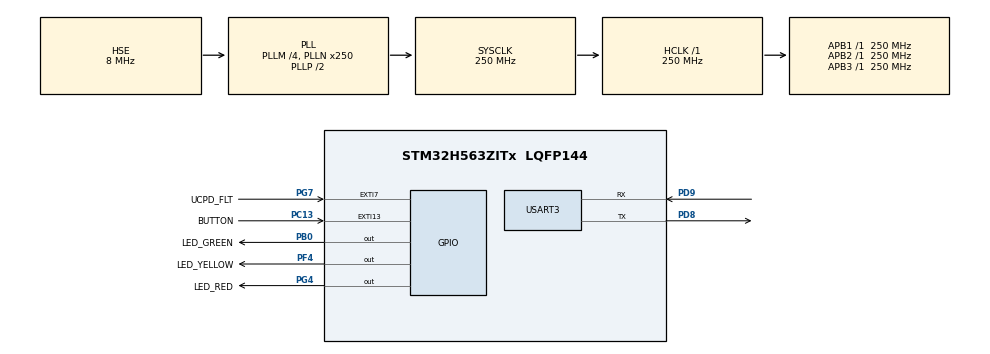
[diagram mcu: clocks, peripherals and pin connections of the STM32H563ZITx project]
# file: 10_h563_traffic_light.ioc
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BOOTPATH.BootPathName=LEGACY
BOOTPATH.UserSelectedBootPath=LEGACY
CORTEX_M33_NS.Number-Cortex_Memory_Protection_Unit_Region0_OTP_RO_AREAS_Settings=MPU_REGION_NUMBER0
CORTEX_M33_NS.default_mode_Activation=1
CORTEX_M33_NS.userName=CORTEX_M33
Mcu.Family=STM32H5
Mcu.Name=STM32H563ZITx
Mcu.Package=LQFP144
NVIC.EXTI13_IRQn=true\:0\:0\:false\:false\:true\:true\:true\:true
NVIC.PriorityGroup=NVIC_PRIORITYGROUP_4
PA1.GPIO_Label=RMII_REF_CLK
PA1.GPIO_Mode=GPIO_MODE_AF_PP
PA1.GPIO_PuPd=GPIO_NOPULL
PA1.GPIO_Speed=GPIO_SPEED_FREQ_LOW
PA1.Signal=ETH_RMII_REF_CLK
PA11.GPIO_Label=USB_FS_N
PA11.Signal=USB_DM
PA12.GPIO_Label=USB_FS_P
PA12.Signal=USB_DP
PA13(JTMS/SWDIO).GPIO_Label=SWDIO
PA13(JTMS/SWDIO).Signal=DEBUG_JTMS-SWDIO
PA14(JTCK/SWCLK).GPIO_Label=SWCLK
PA14(JTCK/SWCLK).Signal=DEBUG_JTCK-SWCLK
PA15(JTDI).GPIO_Label=T_JTDI
PA15(JTDI).Signal=DEBUG_JTDI
PA2.GPIO_Label=RMII_MDIO
PA2.GPIO_Mode=GPIO_MODE_AF_PP
PA2.GPIO_PuPd=GPIO_NOPULL
PA2.GPIO_Speed=GPIO_SPEED_FREQ_LOW
PA2.Signal=ETH_MDIO
PA4.GPIO_Label=VBUS_SENSE
PA4.Signal=ADCx_INP18
PA7.GPIO_Label=RMII_CRS_DV
PA7.GPIO_Mode=GPIO_MODE_AF_PP
PA7.GPIO_PuPd=GPIO_NOPULL
PA7.GPIO_Speed=GPIO_SPEED_FREQ_LOW
PA7.Signal=ETH_RMII_CRS_DV
PA9.GPIO_Label=UCDP_DBn
PA9.Signal=UCPD1_DB1
PB0.GPIO_Label=LED_GREEN
PB0.Signal=GPIO_Output
PB13.GPIO_Label=UCPD_CC1
PB13.Signal=UCPD1_CC1
PB14.GPIO_Label=UCPD_CC2
PB14.Signal=UCPD1_CC2
PB15.GPIO_Label=RMII_TXD1
PB15.GPIO_Mode=GPIO_MODE_AF_PP
PB15.GPIO_PuPd=GPIO_NOPULL
PB15.GPIO_Speed=GPIO_SPEED_FREQ_LOW
PB15.Signal=ETH_RMII_TXD1
PB3(JTDO/TRACESWO).GPIO_Label=SWO
PB3(JTDO/TRACESWO).Signal=DEBUG_JTDO-SWO
PB6.GPIO_Label=ARD_D1_TX
PB6.Signal=LPUART1_TX
PB7.GPIO_Label=ARD_D0_RX
PB7.Signal=LPUART1_RX
PC1.GPIO_Label=RMII_MDC
PC1.GPIO_Mode=GPIO_MODE_AF_PP
PC1.GPIO_PuPd=GPIO_NOPULL
PC1.GPIO_Speed=GPIO_SPEED_FREQ_LOW
PC1.Signal=ETH_MDC
PC13.GPIO_Label=BUTTON
PC13.Signal=GPXTI13
PC14-OSC32_IN(OSC32_IN).Mode=LSE-External-Oscillator
PC14-OSC32_IN(OSC32_IN).Signal=RCC_OSC32_IN
PC15-OSC32_OUT(OSC32_OUT).Mode=LSE-External-Oscillator
PC15-OSC32_OUT(OSC32_OUT).Signal=RCC_OSC32_OUT
PC4.GPIO_Label=RMII_RXD0
PC4.GPIO_Mode=GPIO_MODE_AF_PP
PC4.GPIO_PuPd=GPIO_NOPULL
PC4.GPIO_Speed=GPIO_SPEED_FREQ_LOW
PC4.Signal=ETH_RMII_RXD0
PC5.GPIO_Label=RMII_RXD1
PC5.GPIO_Mode=GPIO_MODE_AF_PP
PC5.GPIO_PuPd=GPIO_NOPULL
PC5.GPIO_Speed=GPIO_SPEED_FREQ_LOW
PC5.Signal=ETH_RMII_RXD1
PD8.Mode=Asynchronous
PD8.Signal=USART3_TX
PD9.Mode=Asynchronous
PD9.Signal=USART3_RX
PE2.GPIO_Label=TRACE_CK
PE2.Signal=DEBUG_TRACECLK
PE3.GPIO_Label=TRACE_D0
PE3.Signal=DEBUG_TRACED0
PE4.GPIO_Label=TRACE_D1
PE4.Signal=DEBUG_TRACED1
PE5.GPIO_Label=TRACE_D2
PE5.Signal=DEBUG_TRACED2
PE6.GPIO_Label=TRACE_D3
PE6.Signal=DEBUG_TRACED3
PF4.GPIO_Label=LED_YELLOW
PF4.Signal=GPIO_Output
PG11.GPIO_Label=RMII_TXT_EN
PG11.GPIO_Mode=GPIO_MODE_AF_PP
PG11.GPIO_PuPd=GPIO_NOPULL
PG11.GPIO_Speed=GPIO_SPEED_FREQ_LOW
PG11.Signal=ETH_RMII_TX_EN
PG13.GPIO_Label=RMI_TXD0
PG13.GPIO_Mode=GPIO_MODE_AF_PP
PG13.GPIO_PuPd=GPIO_NOPULL
PG13.GPIO_Speed=GPIO_SPEED_FREQ_LOW
PG13.Signal=ETH_RMII_TXD0
PG4.GPIO_Label=LED_RED
PG4.Signal=GPIO_Output
PG7.GPIO_Label=UCPD_FLT
PG7.Signal=GPXTI7
PH0-OSC_IN(PH0).GPIO_Label=STLK_MCO
PH0-OSC_IN(PH0).Mode=HSE-External-Clock-Source
PH0-OSC_IN(PH0).Signal=RCC_OSC_IN
ProjectManager.HeapSize=0x200
ProjectManager.StackSize=0x400
ProjectManager.TargetToolchain=STM32CubeIDE
RCC.ADCFreq_Value=250000000
RCC.AHBFreq_Value=250000000
RCC.APB1Freq_Value=250000000
RCC.APB1TimFreq_Value=250000000
RCC.APB2Freq_Value=250000000
RCC.APB2TimFreq_Value=250000000
RCC.APB3Freq_Value=250000000
RCC.CSI_VALUE=4000000
RCC.CortexFreq_Value=250000000
RCC.EPOD_VALUE=8000000
RCC.HCLKFreq_Value=250000000
RCC.HSE_VALUE=8000000
RCC.HSI48_VALUE=48000000
RCC.HSIDiv=RCC_HSI_DIV1
RCC.HSI_VALUE=64000000
RCC.LSIRC_VALUE=32000
RCC.PLLM=4
RCC.PLLN=250
RCC.PLLSourceVirtual=RCC_PLL1_SOURCE_HSE
RCC.SYSCLKFreq_VALUE=250000000
RCC.SYSCLKSource=RCC_SYSCLKSOURCE_PLLCLK
RCC.USBFreq_Value=48000000
RCC.VCOOutputFreq_Value=500000000
SH.ADCx_INP18.0=ADC1_INP18
USART3.VirtualMode-Asynchronous=VM_ASYNC
VP_BOOTPATH_VS_BOOTPATH.Mode=BP_Activate
VP_CORTEX_M33_NS_VS_Hclk.Mode=Hclk_Mode
VP_ICACHE_VS_ICACHE.Mode=DirectMappedCache
VP_MEMORYMAP_VS_MEMORYMAP.Mode=CurAppReg
VP_PWR_VS_DBSignals.Mode=DisableDeadBatterySignals
VP_PWR_VS_LPOM.Mode=PowerOptimisation
VP_PWR_VS_SECSignals.Mode=Security/Privilege
board=NUCLEO-H563ZI

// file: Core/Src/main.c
/* USER CODE BEGIN Header */
/**
  ******************************************************************************
  * @file           : main.c
  * @brief          : Main program body
  ******************************************************************************
  * @attention
  *
  * Copyright (c) 2026 STMicroelectronics.
  * All rights reserved.
  *
  * This software is licensed under terms that can be found in the LICENSE file
  * in the root directory of this software component.
  * If no LICENSE file comes with this software, it is provided AS-IS.
  *
  ******************************************************************************
  */
/* USER CODE END Header */
#include "main.h"

/* USER CODE BEGIN Includes */
#include <stdio.h>
/* USER CODE END Includes */

UART_HandleTypeDef huart3;

/* USER CODE BEGIN PV */
typedef enum { GREEN, YELLOW, RED } LightState;   // the 3 possible states

LightState state = GREEN;
uint32_t stateStart = 0;                          // when the current state began
volatile uint8_t walkRequest = 0;                 // set by the button interrupt
const char *names[3] = {"GREEN", "YELLOW", "RED"};
/* USER CODE END PV */

void SystemClock_Config(void);
static void MPU_Config(void);
static void MX_GPIO_Init(void);
static void MX_ICACHE_Init(void);
static void MX_USART3_UART_Init(void);

/* USER CODE BEGIN 0 */
int __io_putchar(int ch)
{
    HAL_UART_Transmit(&huart3, (uint8_t *)&ch, 1, HAL_MAX_DELAY);   // USART3 on this board!
    return ch;
}

void setLights(LightState s)
{
    HAL_GPIO_WritePin(LED_GREEN_GPIO_Port,  LED_GREEN_Pin,  s == GREEN  ? GPIO_PIN_SET : GPIO_PIN_RESET);
    HAL_GPIO_WritePin(LED_YELLOW_GPIO_Port, LED_YELLOW_Pin, s == YELLOW ? GPIO_PIN_SET : GPIO_PIN_RESET);
    HAL_GPIO_WritePin(LED_RED_GPIO_Port,    LED_RED_Pin,    s == RED    ? GPIO_PIN_SET : GPIO_PIN_RESET);
}

void goTo(LightState next, const char *why)
{
    printf("[%lu ms] %s -> %s (%s)\r\n", HAL_GetTick(), names[state], names[next], why);
    state = next;
    stateStart = HAL_GetTick();
    setLights(state);
}

void HAL_GPIO_EXTI_Rising_Callback(uint16_t GPIO_Pin)   // H5 uses Rising/Falling callbacks
{
    if (GPIO_Pin == BUTTON_Pin && state == GREEN)
    {
        walkRequest = 1;
    }
}
/* USER CODE END 0 */

int main(void)
{

  /* MCU Configuration--------------------------------------------------------*/

  /* MPU Configuration--------------------------------------------------------*/
  MPU_Config();

  /* Reset of all peripherals, Initializes the Flash interface and the Systick. */
  HAL_Init();

  /* Configure the system clock */
  SystemClock_Config();

  /* Initialize all configured peripherals */
  MX_GPIO_Init();
  MX_ICACHE_Init();
  MX_USART3_UART_Init();
  /* USER CODE BEGIN 2 */
  setvbuf(stdout, NULL, _IONBF, 0);
  printf("Lesson 10: traffic light on NUCLEO-H563ZI\r\n");
  stateStart = HAL_GetTick();
  setLights(GREEN);
  /* USER CODE END 2 */

  /* Infinite loop */
  while (1)
  {

    /* USER CODE BEGIN 3 */
	  uint32_t elapsed = HAL_GetTick() - stateStart;

	  switch (state)
	  {
	      case GREEN:
	          if (walkRequest && elapsed >= 1500) { walkRequest = 0; goTo(YELLOW, "walk button"); }
	          else if (elapsed >= 5000)            { goTo(YELLOW, "timer"); }
	          break;

	      case YELLOW:
	          if (elapsed >= 1500) { goTo(RED, "timer"); }
	          break;

	      case RED:
	          if (elapsed >= 4000) { goTo(GREEN, "timer"); }
	          break;
	  }
  }
  /* USER CODE END 3 */
}

void SystemClock_Config(void)
{
  RCC_OscInitTypeDef RCC_OscInitStruct = {0};
  RCC_ClkInitTypeDef RCC_ClkInitStruct = {0};

  /** Configure the main internal regulator output voltage
  */
  __HAL_PWR_VOLTAGESCALING_CONFIG(PWR_REGULATOR_VOLTAGE_SCALE0);

  while(!__HAL_PWR_GET_FLAG(PWR_FLAG_VOSRDY)) {}

  /** Initializes the RCC Oscillators according to the specified parameters
  * in the RCC_OscInitTypeDef structure.
  */
  RCC_OscInitStruct.OscillatorType = RCC_OSCILLATORTYPE_HSE;
  RCC_OscInitStruct.HSEState = RCC_HSE_BYPASS;
  RCC_OscInitStruct.PLL.PLLState = RCC_PLL_ON;
  RCC_OscInitStruct.PLL.PLLSource = RCC_PLL1_SOURCE_HSE;
  RCC_OscInitStruct.PLL.PLLM = 4;
  RCC_OscInitStruct.PLL.PLLN = 250;
  RCC_OscInitStruct.PLL.PLLP = 2;
  RCC_OscInitStruct.PLL.PLLQ = 2;
  RCC_OscInitStruct.PLL.PLLR = 2;
  RCC_OscInitStruct.PLL.PLLRGE = RCC_PLL1_VCIRANGE_1;
  RCC_OscInitStruct.PLL.PLLVCOSEL = RCC_PLL1_VCORANGE_WIDE;
  RCC_OscInitStruct.PLL.PLLFRACN = 0;
  if (HAL_RCC_OscConfig(&RCC_OscInitStruct) != HAL_OK)
  {
    Error_Handler();
  }

  /** Initializes the CPU, AHB and APB buses clocks
  */
  RCC_ClkInitStruct.ClockType = RCC_CLOCKTYPE_HCLK|RCC_CLOCKTYPE_SYSCLK
                              |RCC_CLOCKTYPE_PCLK1|RCC_CLOCKTYPE_PCLK2
                              |RCC_CLOCKTYPE_PCLK3;
  RCC_ClkInitStruct.SYSCLKSource = RCC_SYSCLKSOURCE_PLLCLK;
  RCC_ClkInitStruct.AHBCLKDivider = RCC_SYSCLK_DIV1;
  RCC_ClkInitStruct.APB1CLKDivider = RCC_HCLK_DIV1;
  RCC_ClkInitStruct.APB2CLKDivider = RCC_HCLK_DIV1;
  RCC_ClkInitStruct.APB3CLKDivider = RCC_HCLK_DIV1;

  if (HAL_RCC_ClockConfig(&RCC_ClkInitStruct, FLASH_LATENCY_5) != HAL_OK)
  {
    Error_Handler();
  }

  /** Configure the programming delay
  */
  __HAL_FLASH_SET_PROGRAM_DELAY(FLASH_PROGRAMMING_DELAY_2);
}

static void MX_ICACHE_Init(void)
{

  /** Enable instruction cache in 1-way (direct mapped cache)
  */
  if (HAL_ICACHE_ConfigAssociativityMode(ICACHE_1WAY) != HAL_OK)
  {
    Error_Handler();
  }
  if (HAL_ICACHE_Enable() != HAL_OK)
  {
    Error_Handler();
  }

}

static void MX_USART3_UART_Init(void)
{

  huart3.Instance = USART3;
  huart3.Init.BaudRate = 115200;
  huart3.Init.WordLength = UART_WORDLENGTH_8B;
  huart3.Init.StopBits = UART_STOPBITS_1;
  huart3.Init.Parity = UART_PARITY_NONE;
  huart3.Init.Mode = UART_MODE_TX_RX;
  huart3.Init.HwFlowCtl = UART_HWCONTROL_NONE;
  huart3.Init.OverSampling = UART_OVERSAMPLING_16;
  huart3.Init.OneBitSampling = UART_ONE_BIT_SAMPLE_DISABLE;
  huart3.Init.ClockPrescaler = UART_PRESCALER_DIV1;
  huart3.AdvancedInit.AdvFeatureInit = UART_ADVFEATURE_NO_INIT;
  if (HAL_UART_Init(&huart3) != HAL_OK)
  {
    Error_Handler();
  }
  if (HAL_UARTEx_SetTxFifoThreshold(&huart3, UART_TXFIFO_THRESHOLD_1_8) != HAL_OK)
  {
    Error_Handler();
  }
  if (HAL_UARTEx_SetRxFifoThreshold(&huart3, UART_RXFIFO_THRESHOLD_1_8) != HAL_OK)
  {
    Error_Handler();
  }
  if (HAL_UARTEx_DisableFifoMode(&huart3) != HAL_OK)
  {
    Error_Handler();
  }

}

static void MX_GPIO_Init(void)
{
  GPIO_InitTypeDef GPIO_InitStruct = {0};

  /* GPIO Ports Clock Enable */
  __HAL_RCC_GPIOE_CLK_ENABLE();
  __HAL_RCC_GPIOC_CLK_ENABLE();
  __HAL_RCC_GPIOF_CLK_ENABLE();
  __HAL_RCC_GPIOH_CLK_ENABLE();
  __HAL_RCC_GPIOA_CLK_ENABLE();
  __HAL_RCC_GPIOB_CLK_ENABLE();
  __HAL_RCC_GPIOD_CLK_ENABLE();
  __HAL_RCC_GPIOG_CLK_ENABLE();

  /*Configure GPIO pin Output Level */
  HAL_GPIO_WritePin(LED_YELLOW_GPIO_Port, LED_YELLOW_Pin, GPIO_PIN_RESET);

  /*Configure GPIO pin Output Level */
  HAL_GPIO_WritePin(LED_GREEN_GPIO_Port, LED_GREEN_Pin, GPIO_PIN_RESET);

  /*Configure GPIO pin Output Level */
  HAL_GPIO_WritePin(LED_RED_GPIO_Port, LED_RED_Pin, GPIO_PIN_RESET);

  /*Configure GPIO pin : BUTTON_Pin */
  GPIO_InitStruct.Pin = BUTTON_Pin;
  GPIO_InitStruct.Mode = GPIO_MODE_IT_RISING;
  GPIO_InitStruct.Pull = GPIO_NOPULL;
  HAL_GPIO_Init(BUTTON_GPIO_Port, &GPIO_InitStruct);

  /*Configure GPIO pin : LED_YELLOW_Pin */
  GPIO_InitStruct.Pin = LED_YELLOW_Pin;
  GPIO_InitStruct.Mode = GPIO_MODE_OUTPUT_PP;
  GPIO_InitStruct.Pull = GPIO_NOPULL;
  GPIO_InitStruct.Speed = GPIO_SPEED_FREQ_LOW;
  HAL_GPIO_Init(LED_YELLOW_GPIO_Port, &GPIO_InitStruct);

  /*Configure GPIO pins : RMII_MDC_Pin RMII_RXD0_Pin RMII_RXD1_Pin */
  GPIO_InitStruct.Pin = RMII_MDC_Pin|RMII_RXD0_Pin|RMII_RXD1_Pin;
  GPIO_InitStruct.Mode = GPIO_MODE_AF_PP;
  GPIO_InitStruct.Pull = GPIO_NOPULL;
  GPIO_InitStruct.Speed = GPIO_SPEED_FREQ_HIGH;
  GPIO_InitStruct.Alternate = GPIO_AF11_ETH;
  HAL_GPIO_Init(GPIOC, &GPIO_InitStruct);

  /*Configure GPIO pins : RMII_REF_CLK_Pin RMII_MDIO_Pin RMII_CRS_DV_Pin */
  GPIO_InitStruct.Pin = RMII_REF_CLK_Pin|RMII_MDIO_Pin|RMII_CRS_DV_Pin;
  GPIO_InitStruct.Mode = GPIO_MODE_AF_PP;
  GPIO_InitStruct.Pull = GPIO_NOPULL;
  GPIO_InitStruct.Speed = GPIO_SPEED_FREQ_HIGH;
  GPIO_InitStruct.Alternate = GPIO_AF11_ETH;
  HAL_GPIO_Init(GPIOA, &GPIO_InitStruct);

  /*Configure GPIO pin : VBUS_SENSE_Pin */
  GPIO_InitStruct.Pin = VBUS_SENSE_Pin;
  GPIO_InitStruct.Mode = GPIO_MODE_ANALOG;
  GPIO_InitStruct.Pull = GPIO_NOPULL;
  HAL_GPIO_Init(VBUS_SENSE_GPIO_Port, &GPIO_InitStruct);

  /*Configure GPIO pin : LED_GREEN_Pin */
  GPIO_InitStruct.Pin = LED_GREEN_Pin;
  GPIO_InitStruct.Mode = GPIO_MODE_OUTPUT_PP;
  GPIO_InitStruct.Pull = GPIO_NOPULL;
  GPIO_InitStruct.Speed = GPIO_SPEED_FREQ_LOW;
  HAL_GPIO_Init(LED_GREEN_GPIO_Port, &GPIO_InitStruct);

  /*Configure GPIO pins : UCPD_CC1_Pin UCPD_CC2_Pin */
  GPIO_InitStruct.Pin = UCPD_CC1_Pin|UCPD_CC2_Pin;
  GPIO_InitStruct.Mode = GPIO_MODE_ANALOG;
  GPIO_InitStruct.Pull = GPIO_NOPULL;
  HAL_GPIO_Init(GPIOB, &GPIO_InitStruct);

  /*Configure GPIO pin : RMII_TXD1_Pin */
  GPIO_InitStruct.Pin = RMII_TXD1_Pin;
  GPIO_InitStruct.Mode = GPIO_MODE_AF_PP;
  GPIO_InitStruct.Pull = GPIO_NOPULL;
  GPIO_InitStruct.Speed = GPIO_SPEED_FREQ_HIGH;
  GPIO_InitStruct.Alternate = GPIO_AF11_ETH;
  HAL_GPIO_Init(RMII_TXD1_GPIO_Port, &GPIO_InitStruct);

  /*Configure GPIO pin : LED_RED_Pin */
  GPIO_InitStruct.Pin = LED_RED_Pin;
  GPIO_InitStruct.Mode = GPIO_MODE_OUTPUT_PP;
  GPIO_InitStruct.Pull = GPIO_NOPULL;
  GPIO_InitStruct.Speed = GPIO_SPEED_FREQ_LOW;
  HAL_GPIO_Init(LED_RED_GPIO_Port, &GPIO_InitStruct);

  /*Configure GPIO pin : UCPD_FLT_Pin */
  GPIO_InitStruct.Pin = UCPD_FLT_Pin;
  GPIO_InitStruct.Mode = GPIO_MODE_IT_RISING;
  GPIO_InitStruct.Pull = GPIO_NOPULL;
  HAL_GPIO_Init(UCPD_FLT_GPIO_Port, &GPIO_InitStruct);

  /*Configure GPIO pins : USB_FS_N_Pin USB_FS_P_Pin */
  GPIO_InitStruct.Pin = USB_FS_N_Pin|USB_FS_P_Pin;
  GPIO_InitStruct.Mode = GPIO_MODE_AF_PP;
  GPIO_InitStruct.Pull = GPIO_NOPULL;
  GPIO_InitStruct.Speed = GPIO_SPEED_FREQ_LOW;
  GPIO_InitStruct.Alternate = GPIO_AF10_USB;
  HAL_GPIO_Init(GPIOA, &GPIO_InitStruct);

  /*Configure GPIO pins : SWDIO_Pin T_JTDI_Pin */
  GPIO_InitStruct.Pin = SWDIO_Pin|T_JTDI_Pin;
  GPIO_InitStruct.Mode = GPIO_MODE_AF_PP;
  GPIO_InitStruct.Pull = GPIO_PULLUP;
  GPIO_InitStruct.Speed = GPIO_SPEED_FREQ_LOW;
  GPIO_InitStruct.Alternate = GPIO_AF0_TRACE;
  HAL_GPIO_Init(GPIOA, &GPIO_InitStruct);

  /*Configure GPIO pins : RMII_TXT_EN_Pin RMI_TXD0_Pin */
  GPIO_InitStruct.Pin = RMII_TXT_EN_Pin|RMI_TXD0_Pin;
  GPIO_InitStruct.Mode = GPIO_MODE_AF_PP;
  GPIO_InitStruct.Pull = GPIO_NOPULL;
  GPIO_InitStruct.Speed = GPIO_SPEED_FREQ_HIGH;
  GPIO_InitStruct.Alternate = GPIO_AF11_ETH;
  HAL_GPIO_Init(GPIOG, &GPIO_InitStruct);

  /*Configure GPIO pin : SWO_Pin */
  GPIO_InitStruct.Pin = SWO_Pin;
  GPIO_InitStruct.Mode = GPIO_MODE_AF_PP;
  GPIO_InitStruct.Pull = GPIO_NOPULL;
  GPIO_InitStruct.Speed = GPIO_SPEED_FREQ_LOW;
  GPIO_InitStruct.Alternate = GPIO_AF0_TRACE;
  HAL_GPIO_Init(SWO_GPIO_Port, &GPIO_InitStruct);

  /*Configure GPIO pins : ARD_D1_TX_Pin ARD_D0_RX_Pin */
  GPIO_InitStruct.Pin = ARD_D1_TX_Pin|ARD_D0_RX_Pin;
  GPIO_InitStruct.Mode = GPIO_MODE_AF_PP;
  GPIO_InitStruct.Pull = GPIO_NOPULL;
  GPIO_InitStruct.Speed = GPIO_SPEED_FREQ_LOW;
  GPIO_InitStruct.Alternate = GPIO_AF8_LPUART1;
  HAL_GPIO_Init(GPIOB, &GPIO_InitStruct);

  /* EXTI interrupt init*/
  HAL_NVIC_SetPriority(EXTI13_IRQn, 0, 0);
  HAL_NVIC_EnableIRQ(EXTI13_IRQn);

}

 /* MPU Configuration */

void MPU_Config(void)
{
  MPU_Region_InitTypeDef MPU_InitStruct = {0};
  MPU_Attributes_InitTypeDef MPU_AttributesInit = {0};

  /* Disables the MPU */
  HAL_MPU_Disable();

  /** Initializes and configures the Region 0 and the memory to be protected
  */
  MPU_InitStruct.Enable = MPU_REGION_ENABLE;
  MPU_InitStruct.Number = MPU_REGION_NUMBER0;
  MPU_InitStruct.BaseAddress = 0x08FFF000;
  MPU_InitStruct.LimitAddress = 0x08FFFFFF;
  MPU_InitStruct.AttributesIndex = MPU_ATTRIBUTES_NUMBER0;
  MPU_InitStruct.AccessPermission = MPU_REGION_ALL_RO;
  MPU_InitStruct.DisableExec = MPU_INSTRUCTION_ACCESS_DISABLE;
  MPU_InitStruct.IsShareable = MPU_ACCESS_NOT_SHAREABLE;

  HAL_MPU_ConfigRegion(&MPU_InitStruct);

  /** Initializes and configures the Attribute 0 and the memory to be protected
  */
  MPU_AttributesInit.Number = MPU_ATTRIBUTES_NUMBER0;
  MPU_AttributesInit.Attributes = INNER_OUTER(MPU_NOT_CACHEABLE);

  HAL_MPU_ConfigMemoryAttributes(&MPU_AttributesInit);
  /* Enables the MPU */
  HAL_MPU_Enable(MPU_PRIVILEGED_DEFAULT);

}

void Error_Handler(void)
{
  __disable_irq();
  while (1)
  {
  }
}
